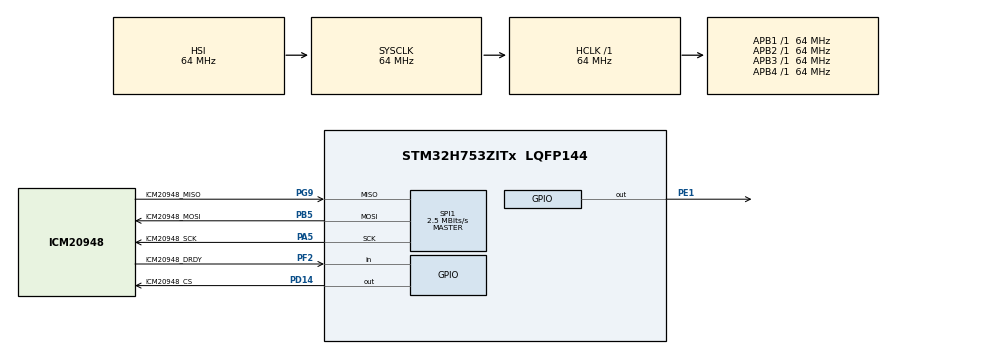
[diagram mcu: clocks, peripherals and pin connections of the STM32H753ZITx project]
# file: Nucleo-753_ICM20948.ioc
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CORTEX_M7.default_mode_Activation=1
Mcu.Family=STM32H7
Mcu.Name=STM32H753ZITx
Mcu.Package=LQFP144
NVIC.PriorityGroup=NVIC_PRIORITYGROUP_4
PA5.GPIO_Label=ICM20948_SCK
PA5.Mode=Full_Duplex_Master
PA5.Signal=SPI1_SCK
PB5.GPIO_Label=ICM20948_MOSI
PB5.Mode=Full_Duplex_Master
PB5.Signal=SPI1_MOSI
PD14.GPIO_Label=ICM20948_CS
PD14.GPIO_PuPd=GPIO_NOPULL
PD14.GPIO_Speed=GPIO_SPEED_FREQ_MEDIUM
PD14.PinState=GPIO_PIN_SET
PD14.Signal=GPIO_Output
PE1.Signal=GPIO_Output
PF2.GPIO_Label=ICM20948_DRDY
PF2.Signal=GPIO_Input
PG9.GPIO_Label=ICM20948_MISO
PG9.Mode=Full_Duplex_Master
PG9.Signal=SPI1_MISO
PH0-OSC_IN\ (PH0).Mode=HSE-External-Oscillator
PH0-OSC_IN\ (PH0).Signal=RCC_OSC_IN
PH1-OSC_OUT\ (PH1).Mode=HSE-External-Oscillator
PH1-OSC_OUT\ (PH1).Signal=RCC_OSC_OUT
ProjectManager.HeapSize=0x200
ProjectManager.StackSize=0x400
ProjectManager.TargetToolchain=STM32CubeIDE
RCC.ADCFreq_Value=129000000
RCC.APB1Freq_Value=64000000
RCC.APB2Freq_Value=64000000
RCC.APB3Freq_Value=64000000
RCC.APB4Freq_Value=64000000
RCC.CortexFreq_Value=64000000
RCC.DIVM1=4
RCC.DIVN1=10
RCC.HCLKFreq_Value=64000000
RCC.PLLFRACN=0
RCC.SYSCLKFreq_VALUE=64000000
RCC.USBFreq_Value=80000000
SPI1.BaudRatePrescaler=SPI_BAUDRATEPRESCALER_32
SPI1.CLKPhase=SPI_PHASE_2EDGE
SPI1.CLKPolarity=SPI_POLARITY_HIGH
SPI1.CalculateBaudRate=2.5 MBits/s
SPI1.DataSize=SPI_DATASIZE_8BIT
SPI1.Direction=SPI_DIRECTION_2LINES
SPI1.Mode=SPI_MODE_MASTER
SPI1.VirtualType=VM_MASTER
VP_MEMORYMAP_VS_MEMORYMAP.Mode=CurAppReg
board=custom

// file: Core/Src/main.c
/* USER CODE BEGIN Header */
/**
  ******************************************************************************
  * @file           : main.c
  * @brief          : Main program body
  ******************************************************************************
  * @attention
  *
  * Copyright (c) 2025 STMicroelectronics.
  * All rights reserved.
  *
  * This software is licensed under terms that can be found in the LICENSE file
  * in the root directory of this software component.
  * If no LICENSE file comes with this software, it is provided AS-IS.
  *
  ******************************************************************************
  */
/* USER CODE END Header */
#include "main.h"

/* USER CODE BEGIN Includes */
#include "icm20948_driver.h"
/* USER CODE END Includes */

SPI_HandleTypeDef hspi1;

void SystemClock_Config(void);
static void MPU_Config(void);
static void MX_GPIO_Init(void);
static void MX_SPI1_Init(void);
/* USER CODE BEGIN PFP */
#ifdef __GNUC__
/* With GCC, small printf (option LD Linker->Libraries->Small printf
   set to 'Yes') calls __io_putchar() */
#define PUTCHAR_PROTOTYPE int __io_putchar(int ch)
#else
#define PUTCHAR_PROTOTYPE int fputc(int ch, FILE *f)
#endif /* __GNUC__ */
/* USER CODE END PFP */

int main(void)
{

  /* MPU Configuration--------------------------------------------------------*/
  MPU_Config();

  /* MCU Configuration--------------------------------------------------------*/

  /* Reset of all peripherals, Initializes the Flash interface and the Systick. */
  HAL_Init();

  /* Configure the system clock */
  SystemClock_Config();

  /* Initialize all configured peripherals */
  MX_GPIO_Init();
  MX_SPI1_Init();
  /* USER CODE BEGIN 2 */
 	int WWE = 0;
	  printf("ICM-20948 Test Program Init\r\n");
	// Initialize ICM-20948
	if (ICM20948_Init() == HAL_OK) {
	  printf("ICM-20948 Initialization OK\r\n");
	} else {
	  printf("ICM-20948 Initialization FAILED\r\n");
	  Error_Handler();
	}
  /* USER CODE END 2 */

  /* Infinite loop */
  while (1)
  {

    /* USER CODE BEGIN 3 */
	  ICM20948_Main();

	  HAL_GPIO_WritePin(GPIOE, GPIO_PIN_1, GPIO_PIN_SET);
	  HAL_Delay(100);
	  HAL_GPIO_WritePin(GPIOE, GPIO_PIN_1, GPIO_PIN_RESET);
	  HAL_Delay(100);
	  printf("archer %d \n",WWE);
	  	  WWE++;
  }
  /* USER CODE END 3 */
}

void SystemClock_Config(void)
{
  RCC_OscInitTypeDef RCC_OscInitStruct = {0};
  RCC_ClkInitTypeDef RCC_ClkInitStruct = {0};

  /** Supply configuration update enable
  */
  HAL_PWREx_ConfigSupply(PWR_LDO_SUPPLY);

  /** Configure the main internal regulator output voltage
  */
  __HAL_PWR_VOLTAGESCALING_CONFIG(PWR_REGULATOR_VOLTAGE_SCALE3);

  while(!__HAL_PWR_GET_FLAG(PWR_FLAG_VOSRDY)) {}

  /** Initializes the RCC Oscillators according to the specified parameters
  * in the RCC_OscInitTypeDef structure.
  */
  RCC_OscInitStruct.OscillatorType = RCC_OSCILLATORTYPE_HSI;
  RCC_OscInitStruct.HSIState = RCC_HSI_DIV1;
  RCC_OscInitStruct.HSICalibrationValue = RCC_HSICALIBRATION_DEFAULT;
  RCC_OscInitStruct.PLL.PLLState = RCC_PLL_ON;
  RCC_OscInitStruct.PLL.PLLSource = RCC_PLLSOURCE_HSI;
  RCC_OscInitStruct.PLL.PLLM = 4;
  RCC_OscInitStruct.PLL.PLLN = 10;
  RCC_OscInitStruct.PLL.PLLP = 2;
  RCC_OscInitStruct.PLL.PLLQ = 2;
  RCC_OscInitStruct.PLL.PLLR = 2;
  RCC_OscInitStruct.PLL.PLLRGE = RCC_PLL1VCIRANGE_3;
  RCC_OscInitStruct.PLL.PLLVCOSEL = RCC_PLL1VCOMEDIUM;
  RCC_OscInitStruct.PLL.PLLFRACN = 0;
  if (HAL_RCC_OscConfig(&RCC_OscInitStruct) != HAL_OK)
  {
    Error_Handler();
  }

  /** Initializes the CPU, AHB and APB buses clocks
  */
  RCC_ClkInitStruct.ClockType = RCC_CLOCKTYPE_HCLK|RCC_CLOCKTYPE_SYSCLK
                              |RCC_CLOCKTYPE_PCLK1|RCC_CLOCKTYPE_PCLK2
                              |RCC_CLOCKTYPE_D3PCLK1|RCC_CLOCKTYPE_D1PCLK1;
  RCC_ClkInitStruct.SYSCLKSource = RCC_SYSCLKSOURCE_HSI;
  RCC_ClkInitStruct.SYSCLKDivider = RCC_SYSCLK_DIV1;
  RCC_ClkInitStruct.AHBCLKDivider = RCC_HCLK_DIV1;
  RCC_ClkInitStruct.APB3CLKDivider = RCC_APB3_DIV1;
  RCC_ClkInitStruct.APB1CLKDivider = RCC_APB1_DIV1;
  RCC_ClkInitStruct.APB2CLKDivider = RCC_APB2_DIV1;
  RCC_ClkInitStruct.APB4CLKDivider = RCC_APB4_DIV1;

  if (HAL_RCC_ClockConfig(&RCC_ClkInitStruct, FLASH_LATENCY_1) != HAL_OK)
  {
    Error_Handler();
  }
}

static void MX_SPI1_Init(void)
{

  /* SPI1 parameter configuration*/
  hspi1.Instance = SPI1;
  hspi1.Init.Mode = SPI_MODE_MASTER;
  hspi1.Init.Direction = SPI_DIRECTION_2LINES;
  hspi1.Init.DataSize = SPI_DATASIZE_8BIT;
  hspi1.Init.CLKPolarity = SPI_POLARITY_HIGH;
  hspi1.Init.CLKPhase = SPI_PHASE_2EDGE;
  hspi1.Init.NSS = SPI_NSS_SOFT;
  hspi1.Init.BaudRatePrescaler = SPI_BAUDRATEPRESCALER_32;
  hspi1.Init.FirstBit = SPI_FIRSTBIT_MSB;
  hspi1.Init.TIMode = SPI_TIMODE_DISABLE;
  hspi1.Init.CRCCalculation = SPI_CRCCALCULATION_DISABLE;
  hspi1.Init.CRCPolynomial = 0x0;
  hspi1.Init.NSSPMode = SPI_NSS_PULSE_ENABLE;
  hspi1.Init.NSSPolarity = SPI_NSS_POLARITY_LOW;
  hspi1.Init.FifoThreshold = SPI_FIFO_THRESHOLD_01DATA;
  hspi1.Init.TxCRCInitializationPattern = SPI_CRC_INITIALIZATION_ALL_ZERO_PATTERN;
  hspi1.Init.RxCRCInitializationPattern = SPI_CRC_INITIALIZATION_ALL_ZERO_PATTERN;
  hspi1.Init.MasterSSIdleness = SPI_MASTER_SS_IDLENESS_00CYCLE;
  hspi1.Init.MasterInterDataIdleness = SPI_MASTER_INTERDATA_IDLENESS_00CYCLE;
  hspi1.Init.MasterReceiverAutoSusp = SPI_MASTER_RX_AUTOSUSP_DISABLE;
  hspi1.Init.MasterKeepIOState = SPI_MASTER_KEEP_IO_STATE_DISABLE;
  hspi1.Init.IOSwap = SPI_IO_SWAP_DISABLE;
  if (HAL_SPI_Init(&hspi1) != HAL_OK)
  {
    Error_Handler();
  }

}

static void MX_GPIO_Init(void)
{
  GPIO_InitTypeDef GPIO_InitStruct = {0};

  /* GPIO Ports Clock Enable */
  __HAL_RCC_GPIOF_CLK_ENABLE();
  __HAL_RCC_GPIOH_CLK_ENABLE();
  __HAL_RCC_GPIOA_CLK_ENABLE();
  __HAL_RCC_GPIOD_CLK_ENABLE();
  __HAL_RCC_GPIOG_CLK_ENABLE();
  __HAL_RCC_GPIOB_CLK_ENABLE();
  __HAL_RCC_GPIOE_CLK_ENABLE();

  /*Configure GPIO pin Output Level */
  HAL_GPIO_WritePin(ICM20948_CS_GPIO_Port, ICM20948_CS_Pin, GPIO_PIN_SET);

  /*Configure GPIO pin Output Level */
  HAL_GPIO_WritePin(GPIOE, GPIO_PIN_1, GPIO_PIN_RESET);

  /*Configure GPIO pin : ICM20948_DRDY_Pin */
  GPIO_InitStruct.Pin = ICM20948_DRDY_Pin;
  GPIO_InitStruct.Mode = GPIO_MODE_INPUT;
  GPIO_InitStruct.Pull = GPIO_NOPULL;
  HAL_GPIO_Init(ICM20948_DRDY_GPIO_Port, &GPIO_InitStruct);

  /*Configure GPIO pin : ICM20948_CS_Pin */
  GPIO_InitStruct.Pin = ICM20948_CS_Pin;
  GPIO_InitStruct.Mode = GPIO_MODE_OUTPUT_PP;
  GPIO_InitStruct.Pull = GPIO_NOPULL;
  GPIO_InitStruct.Speed = GPIO_SPEED_FREQ_MEDIUM;
  HAL_GPIO_Init(ICM20948_CS_GPIO_Port, &GPIO_InitStruct);

  /*Configure GPIO pin : PE1 */
  GPIO_InitStruct.Pin = GPIO_PIN_1;
  GPIO_InitStruct.Mode = GPIO_MODE_OUTPUT_PP;
  GPIO_InitStruct.Pull = GPIO_NOPULL;
  GPIO_InitStruct.Speed = GPIO_SPEED_FREQ_LOW;
  HAL_GPIO_Init(GPIOE, &GPIO_InitStruct);

}

/* USER CODE BEGIN 4 */
int _write(int file, char *ptr, int len)
{
  (void)file;
  int DataIdx;

  for (DataIdx = 0; DataIdx < len; DataIdx++)
  {
    ITM_SendChar(*ptr++);
  }
  return len;
}
/* USER CODE END 4 */

 /* MPU Configuration */

void MPU_Config(void)
{
  MPU_Region_InitTypeDef MPU_InitStruct = {0};

  /* Disables the MPU */
  HAL_MPU_Disable();

  /** Initializes and configures the Region and the memory to be protected
  */
  MPU_InitStruct.Enable = MPU_REGION_ENABLE;
  MPU_InitStruct.Number = MPU_REGION_NUMBER0;
  MPU_InitStruct.BaseAddress = 0x0;
  MPU_InitStruct.Size = MPU_REGION_SIZE_4GB;
  MPU_InitStruct.SubRegionDisable = 0x87;
  MPU_InitStruct.TypeExtField = MPU_TEX_LEVEL0;
  MPU_InitStruct.AccessPermission = MPU_REGION_NO_ACCESS;
  MPU_InitStruct.DisableExec = MPU_INSTRUCTION_ACCESS_DISABLE;
  MPU_InitStruct.IsShareable = MPU_ACCESS_SHAREABLE;
  MPU_InitStruct.IsCacheable = MPU_ACCESS_NOT_CACHEABLE;
  MPU_InitStruct.IsBufferable = MPU_ACCESS_NOT_BUFFERABLE;

  HAL_MPU_ConfigRegion(&MPU_InitStruct);
  /* Enables the MPU */
  HAL_MPU_Enable(MPU_PRIVILEGED_DEFAULT);

}

void Error_Handler(void)
{
  __disable_irq();
  while (1)
  {
  }
}
